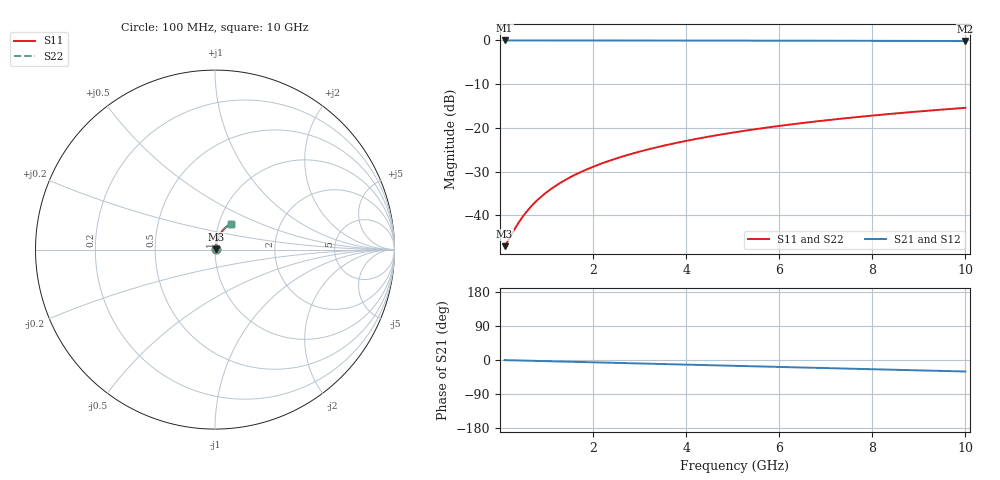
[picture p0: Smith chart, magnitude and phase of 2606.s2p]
# Hz S RI R 50.00
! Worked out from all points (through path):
!   100 points, 100 MHz to 10 GHz, reference 50 ohm
!   highest |S21| = -0.04 dB at 100 MHz (marker M1); lowest = -0.2 dB at 10 GHz (marker M2)
!   group delay of S21, straight-line fit = 8.44 ps
!   lowest |S11| = -47.0 dB at 100 MHz (marker M3), VSWR 1.01, Z = 50.4 + j0.178 ohm
!   |S11| at or under -10 dB: start of sweep to end of sweep
!   |S22| runs from -47.0 to -15.4 dB; largest |S21 - S12| = 0
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1e8  0.00409 0.00177  0.9959 -0.00531  0.9959 -0.00531  0.00409 0.00177
3e8  0.00421 0.0053  0.9957 -0.0159  0.9957 -0.0159  0.00421 0.0053
4e8  0.00429 0.00706  0.9956 -0.0212  0.9956 -0.0212  0.00429 0.00706
5e8  0.00439 0.00882  0.9954 -0.0265  0.9954 -0.0265  0.00439 0.00882
6e8  0.0045 0.0106  0.9953 -0.0318  0.9953 -0.0318  0.0045 0.0106
7e8  0.00463 0.0123  0.995 -0.0371  0.995 -0.0371  0.00463 0.0123
8e8  0.00478 0.0141  0.9948 -0.0424  0.9948 -0.0424  0.00478 0.0141
1e9  0.00514 0.0176  0.9942 -0.053  0.9942 -0.053  0.00514 0.0176
1.2e9  0.00557 0.0211  0.9935 -0.0636  0.9935 -0.0636  0.00557 0.0211
1.5e9  0.00634 0.0264  0.9922 -0.0795  0.9922 -0.0795  0.00634 0.0264
1.8e9  0.00729 0.0316  0.9906 -0.0953  0.9906 -0.0953  0.00729 0.0316
2.1e9  0.00839 0.0367  0.9888 -0.1111  0.9888 -0.1111  0.00839 0.0367
2.5e9  0.0101 0.0436  0.9859 -0.1321  0.9859 -0.1321  0.0101 0.0436
2.9e9  0.0121 0.0503  0.9825 -0.153  0.9825 -0.153  0.0121 0.0503
3.4e9  0.0151 0.0586  0.9775 -0.179  0.9775 -0.179  0.0151 0.0586
4.2e9  0.0206 0.0715  0.9681 -0.2202  0.9681 -0.2202  0.0206 0.0715
5.1e9  0.0282 0.0854  0.9552 -0.2658  0.9552 -0.2658  0.0282 0.0854
5.9e9  0.036 0.097  0.9418 -0.3057  0.9418 -0.3057  0.036 0.097
6.7e9  0.0447 0.108  0.9266 -0.3448  0.9266 -0.3448  0.0447 0.108
7.5e9  0.0543 0.1181  0.9096 -0.383  0.9096 -0.383  0.0543 0.1181
8.4e9  0.0661 0.1285  0.8886 -0.4248  0.8886 -0.4248  0.0661 0.1285
1e10  0.0891 0.144  0.8464 -0.4959  0.8464 -0.4959  0.0891 0.144
